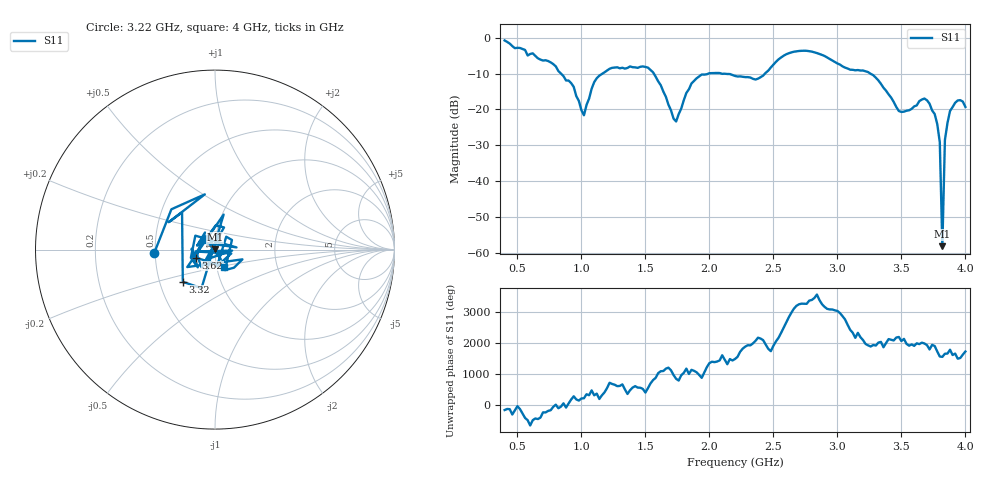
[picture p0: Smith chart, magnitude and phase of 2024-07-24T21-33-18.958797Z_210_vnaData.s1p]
!Created with skrf (http://scikit-rf.org).
# Hz S RI R 50.0
!freq ReS11 ImS11
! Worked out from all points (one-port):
!   181 points, 400 MHz to 4 GHz, reference 50 ohm
!   lowest |S11| = -58.0 dB at 3.82 GHz (marker M1), VSWR 1.00, Z = 49.9 + j0.102 ohm
!   |S11| at or under -10 dB: 1.566 GHz to 1.994 GHz (428.7 MHz wide, 24.1 % of centre); 2.092 GHz to 2.435 GHz (343 MHz wide, 15.2 % of centre); 3.256 GHz to end of sweep (the widest 3 of 4)
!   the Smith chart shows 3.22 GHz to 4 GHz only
!   S11 on the Smith chart (normalised r, x): 3.22 GHz: 0.49, -0.02; 3.32 GHz: 0.66, -0.25; 3.62 GHz: 0.81, -0.07; 4 GHz: 1.09, -0.21
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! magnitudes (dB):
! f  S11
! 400 MHz  -0.8
! 860 MHz  -10.7
! 940 MHz  -13.7
! 1.02 GHz  -21.6
! 1.12 GHz  -11.3
! 1.3 GHz  -8.6
! 1.52 GHz  -8.4
! 1.72 GHz  -22.5
! 1.76 GHz  -21.3
! 1.86 GHz  -12.8
! 1.94 GHz  -10.3
! 2.2 GHz  -10.7
! 2.38 GHz  -11.4
! 2.66 GHz  -3.9
! 3.1 GHz  -8.9
! 3.22 GHz  -9.4
! 3.32 GHz  -11.9
! 3.48 GHz  -20.4
! 3.56 GHz  -20.2
! 3.62 GHz  -18.9
! 3.7 GHz  -17.4
! 3.78 GHz  -24.0
! 3.8 GHz  -29.1
! 3.82 GHz  -58.0
! 3.84 GHz  -28.5
! 3.86 GHz  -23.8
! 3.92 GHz  -18.1
! 4 GHz  -19.3
